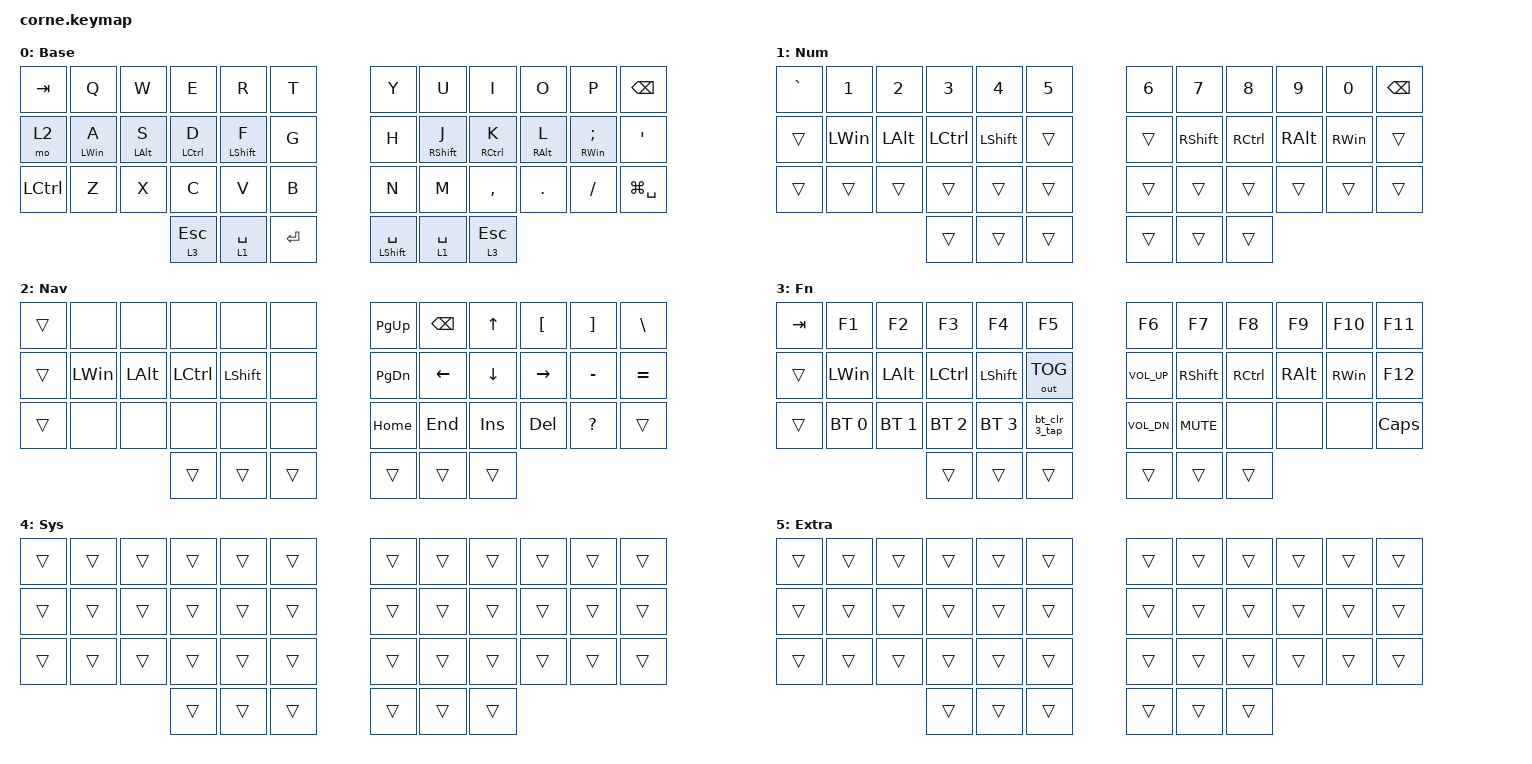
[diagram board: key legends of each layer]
/*
 * Copyright (c) 2020 The ZMK Contributors
 *
 * SPDX-License-Identifier: MIT
 */

#define ZMK_POINTING_DEFAULT_MOVE_VAL 1500
#define ZMK_POINTING_DEFAULT_SCRL_VAL 25

#include <behaviors.dtsi>
#include <dt-bindings/zmk/bt.h>
#include <dt-bindings/zmk/keys.h>
#include <dt-bindings/zmk/pointing.h>
#include <dt-bindings/zmk/outputs.h>

#define LOWER   1
#define RAISE   2

/ {
    behaviors {
        hm_s_l: hm_s_l {
            compatible = "zmk,behavior-hold-tap";
            bindings = <&kp>, <&kp>;

            #binding-cells = <2>;
            flavor = "balanced";
            tapping-term-ms = <200>;
            quick-tap-ms = <150>;
            require-prior-idle-ms = <200>;
            hold-trigger-key-positions = <36 37 38 6 7 8 9 10 11 18 19 20 21 22 23 30 31 32 33 34 35 39 40 41 12>;
        };

        hm_s_r: hm_s_r {
            compatible = "zmk,behavior-hold-tap";
            bindings = <&kp>, <&kp>;

            #binding-cells = <2>;
            flavor = "balanced";
            tapping-term-ms = <200>;
            quick-tap-ms = <150>;
            require-prior-idle-ms = <200>;
            hold-trigger-key-positions = <0 1 2 3 4 5 12 13 14 15 16 17 24 25 26 27 28 29 36 37 38 39 40 41>;
        };

        hm_l: hm_l {
            compatible = "zmk,behavior-hold-tap";
            bindings = <&kp>, <&kp>;

            #binding-cells = <2>;
            flavor = "balanced";
            tapping-term-ms = <240>;
            quick-tap-ms = <175>;
            require-prior-idle-ms = <200>;
            hold-trigger-key-positions = <36 37 38 6 7 8 9 10 11 18 19 20 21 22 23 30 31 32 33 34 35 39 40 41 12>;
            hold-trigger-on-release;
        };

        hm_r: hm_r {
            compatible = "zmk,behavior-hold-tap";
            bindings = <&kp>, <&kp>;

            #binding-cells = <2>;
            flavor = "balanced";
            tapping-term-ms = <240>;
            quick-tap-ms = <175>;
            require-prior-idle-ms = <200>;
            hold-trigger-on-release;
            hold-trigger-key-positions = <0 1 2 3 4 5 12 13 14 15 16 17 24 25 26 27 28 29 36 37 38 39 40 41>;
        };

        // Mid-typing presses are instant Space; rolls and long lone holds stay Space.
        sp_sft: sp_sft {
            compatible = "zmk,behavior-hold-tap";
            bindings = <&kp>, <&kp>;

            #binding-cells = <2>;
            flavor = "balanced";
            tapping-term-ms = <280>;
            quick-tap-ms = <175>;
            require-prior-idle-ms = <150>;
            retro-tap;
        };

        bt_clr_3_tap: bt_clr_3_tap {
            compatible = "zmk,behavior-tap-dance";
            #binding-cells = <0>;
            bindings = <&none>, <&none>, <&bt BT_CLR>;
        };
    };

    combos {
        compatible = "zmk,combos";

        QM {
            bindings = <&kp QUESTION>;
            key-positions = <16 34>;
            timeout-ms = <150>;
            require-prior-idle-ms = <(-1)>;
            layers = <0>;
        };
    };

    keymap {
        compatible = "zmk,keymap";

        Base {
            display-name = "Base";
            bindings = <
&kp TAB    &kp Q             &kp W             &kp E          &kp R                 &kp T        &kp Y                 &kp U                  &kp I          &kp O              &kp P                 &kp BSPC
&mo 2      &hm_l LEFT_WIN A  &hm_l LEFT_ALT S  &hm_l LCTRL D  &hm_s_l LEFT_SHIFT F  &kp G        &kp H                 &hm_s_r RIGHT_SHIFT J  &hm_r RCTRL K  &hm_r RIGHT_ALT L  &hm_r RWIN SEMICOLON  &kp SQT
&kp LCTRL  &kp Z             &kp X             &kp C          &kp V                 &kp B        &kp N                 &kp M                  &kp COMMA      &kp DOT            &kp FSLH              &kp LG(SPACE)
                                               &lt 3 ESCAPE   &lt 1 SPACE           &kp ENTER    &sp_sft LEFT_SHIFT SPACE  &lt 1 SPACE            &lt 3 ESCAPE
            >;
        };

        Numbers {
            display-name = "Num";
            bindings = <
&kp GRAVE  &kp N1    &kp N2        &kp N3     &kp N4     &kp N5    &kp N6  &kp N7     &kp N8     &kp N9         &kp N0    &kp BSPC
&trans     &kp LWIN  &kp LEFT_ALT  &kp LCTRL  &kp LSHFT  &trans    &trans  &kp RSHFT  &kp RCTRL  &kp RIGHT_ALT  &kp RWIN  &trans
&trans     &trans    &trans        &trans     &trans     &trans    &trans  &trans     &trans     &trans         &trans    &trans
                                   &trans     &trans     &trans    &trans  &trans     &trans
            >;
        };

        Navigation {
            display-name = "Nav";
            bindings = <
&trans  &none         &none     &none      &none      &none     &kp PG_UP      &kp BACKSPACE  &kp UP      &kp LEFT_BRACKET  &kp RIGHT_BRACKET  &kp BSLH
&trans  &kp LEFT_WIN  &kp LALT  &kp LCTRL  &kp LSHFT  &none     &kp PAGE_DOWN  &kp LEFT       &kp DOWN    &kp RIGHT         &kp MINUS          &kp EQUAL
&trans  &none         &none     &none      &none      &none     &kp HOME       &kp END        &kp INSERT  &kp DELETE        &kp QMARK          &trans
                                &trans     &trans     &trans    &trans         &trans         &trans
            >;
        };

        Functional {
            display-name = "Fn";
            bindings = <
&kp TAB  &kp F1        &kp F2        &kp F3        &kp F4        &kp F5           &kp F6        &kp F7      &kp F8     &kp F9         &kp F10   &kp F11
&trans   &kp LWIN      &kp LEFT_ALT  &kp LCTRL     &kp LSHFT     &out OUT_TOG     &kp C_VOL_UP  &kp RSHFT   &kp RCTRL  &kp RIGHT_ALT  &kp RWIN  &kp F12
&trans   &bt BT_SEL 0  &bt BT_SEL 1  &bt BT_SEL 2  &bt BT_SEL 3  &bt_clr_3_tap    &kp C_VOL_DN  &kp C_MUTE  &none      &none          &none     &kp CAPS
                                     &trans        &trans        &trans           &trans        &trans      &trans
            >;
        };

        System {
            display-name = "Sys";
            bindings = <
&trans  &trans  &trans  &trans  &trans  &trans    &trans  &trans  &trans  &trans  &trans  &trans
&trans  &trans  &trans  &trans  &trans  &trans    &trans  &trans  &trans  &trans  &trans  &trans
&trans  &trans  &trans  &trans  &trans  &trans    &trans  &trans  &trans  &trans  &trans  &trans
                        &trans  &trans  &trans    &trans  &trans  &trans
            >;
        };

        Extra {
            display-name = "Extra";
            bindings = <
&trans  &trans  &trans  &trans  &trans  &trans    &trans  &trans  &trans  &trans  &trans  &trans
&trans  &trans  &trans  &trans  &trans  &trans    &trans  &trans  &trans  &trans  &trans  &trans
&trans  &trans  &trans  &trans  &trans  &trans    &trans  &trans  &trans  &trans  &trans  &trans
                        &trans  &trans  &trans    &trans  &trans  &trans
            >;
        };
    };

    conditional_layers {
        compatible = "zmk,conditional-layers";

        NumFn {
            if-layers = <1 3>;
            then-layer = <4>;
        };
    };
};
